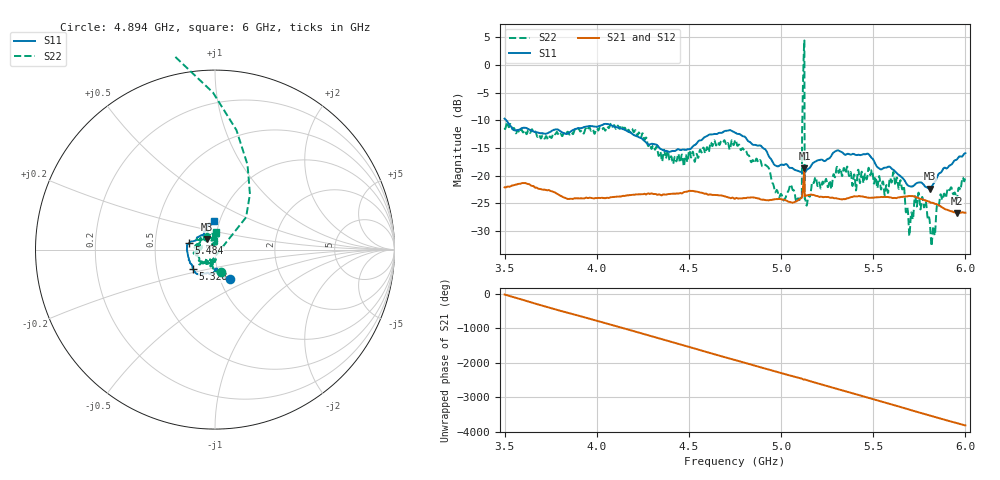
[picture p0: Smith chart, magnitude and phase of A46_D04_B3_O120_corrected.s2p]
! Created with skrf 1.9.0 (http://scikit-rf.org).
# Hz S RI R 50.0
!freq ReS11 ImS11 ReS21 ImS21 ReS12 ImS12 ReS22 ImS22
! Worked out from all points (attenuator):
!   1601 points, 3.5 GHz to 6 GHz, reference 50 ohm
!   highest |S21| = -18.62 dB at 5.127 GHz (marker M1); lowest = -26.7 dB at 5.956 GHz (marker M2)
!   lowest |S11| = -22.4 dB at 5.808 GHz (marker M3), VSWR 1.16, Z = 45.2 + j5.42 ohm
!   |S11| at or under -10 dB: 3.509 GHz to end of sweep
!   |S22| runs from -32.7 to 4.4 dB; largest |S21 - S12| = 0.00098
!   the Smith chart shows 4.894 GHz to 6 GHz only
!   S11 on the Smith chart (normalised r, x): 4.894 GHz: 1.11, -0.38; 5.328 GHz: 0.77, -0.17; 5.484 GHz: 0.74, +0.05; 6 GHz: 0.94, +0.31
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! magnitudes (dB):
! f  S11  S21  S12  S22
! 3.5 GHz  -9.7  -22.1  -22.1  -11.4
! 3.917 GHz  -11.4  -24.1  -24.1  -11.8
! 4.142 GHz  -11.6  -23.6  -23.6  -11.5
! 4.334 GHz  -14.8  -23.4  -23.4  -16.3
! 4.75 GHz  -12.2  -24.2  -24.1  -13.7
! 4.894 GHz  -14.7  -24.3  -24.3  -17.9
! 5.094 GHz  -19.2  -24.4  -24.3  -24.1
! 5.103 GHz  -19.3  -24.2  -24.1  -24.2
! 5.114 GHz  -19.4  -23.7  -23.6  -12.0
! 5.127 GHz  -19.4  -18.6  -18.6  4.4
! 5.141 GHz  -18.9  -23.5  -23.4  -25.2
! 5.167 GHz  -18.0  -23.5  -23.4  -21.4
! 5.328 GHz  -15.7  -24.3  -24.2  -19.7
! 5.484 GHz  -16.5  -24.0  -23.9  -19.9
! 5.584 GHz  -18.4  -23.9  -23.8  -22.1
! 5.656 GHz  -20.3  -23.8  -23.7  -22.4
! 5.703 GHz  -22.0  -23.7  -23.6  -27.5
! 5.775 GHz  -21.7  -24.4  -24.3  -25.7
! 5.808 GHz  -22.4  -24.8  -24.7  -28.7
! 5.873 GHz  -19.1  -25.7  -25.6  -24.4
! 5.956 GHz  -17.0  -26.7  -26.6  -23.7
! 6 GHz  -15.9  -26.7  -26.6  -20.2
